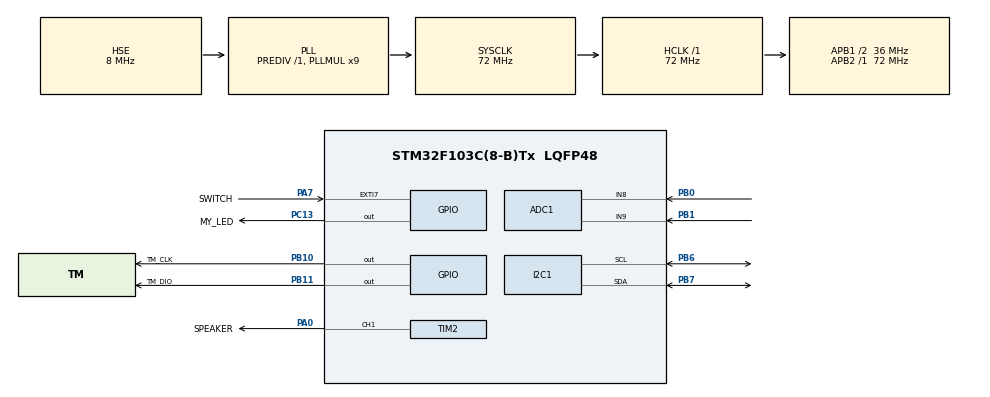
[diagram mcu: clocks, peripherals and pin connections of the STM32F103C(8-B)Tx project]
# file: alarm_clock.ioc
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ADC1.Channel-0\#ChannelRegularConversion=ADC_CHANNEL_9
ADC1.Channel-2\#ChannelRegularConversion=ADC_CHANNEL_8
ADC1.ContinuousConvMode=ENABLE
ADC1.EnableAnalogWatchDog=false
ADC1.NbrOfConversion=2
ADC1.NbrOfConversionFlag=1
ADC1.Rank-0\#ChannelRegularConversion=1
ADC1.Rank-2\#ChannelRegularConversion=2
ADC1.SamplingTime-0\#ChannelRegularConversion=ADC_SAMPLETIME_71CYCLES_5
ADC1.SamplingTime-2\#ChannelRegularConversion=ADC_SAMPLETIME_71CYCLES_5
ADC1.master=1
Dma.ADC1.0.Direction=DMA_PERIPH_TO_MEMORY
Dma.ADC1.0.Instance=DMA1_Channel1
Dma.ADC1.0.MemDataAlignment=DMA_MDATAALIGN_WORD
Dma.ADC1.0.MemInc=DMA_MINC_ENABLE
Dma.ADC1.0.Mode=DMA_CIRCULAR
Dma.ADC1.0.PeriphDataAlignment=DMA_PDATAALIGN_WORD
Dma.ADC1.0.PeriphInc=DMA_PINC_DISABLE
Dma.ADC1.0.Priority=DMA_PRIORITY_MEDIUM
Dma.Request0=ADC1
Mcu.Family=STM32F1
Mcu.Name=STM32F103C(8-B)Tx
Mcu.Package=LQFP48
NVIC.DMA1_Channel1_IRQn=true\:0\:0\:false\:false\:true\:false\:true\:true
NVIC.EXTI9_5_IRQn=true\:0\:0\:false\:false\:true\:true\:true\:true
NVIC.PriorityGroup=NVIC_PRIORITYGROUP_4
PA0-WKUP.GPIO_Label=SPEAKER
PA0-WKUP.Signal=S_TIM2_CH1_ETR
PA13.Mode=Serial_Wire
PA13.Signal=SYS_JTMS-SWDIO
PA14.Mode=Serial_Wire
PA14.Signal=SYS_JTCK-SWCLK
PA7.GPIO_Label=SWITCH
PA7.GPIO_ModeDefaultEXTI=GPIO_MODE_IT_RISING_FALLING
PA7.GPIO_PuPd=GPIO_PULLUP
PA7.Signal=GPXTI7
PB0.Signal=ADCx_IN8
PB1.Signal=ADCx_IN9
PB10.GPIO_Label=TM_CLK
PB10.GPIO_ModeDefaultOutputPP=GPIO_MODE_OUTPUT_PP
PB10.GPIO_PuPd=GPIO_NOPULL
PB10.GPIO_Speed=GPIO_SPEED_FREQ_HIGH
PB10.PinState=GPIO_PIN_RESET
PB10.Signal=GPIO_Output
PB11.GPIO_Label=TM_DIO
PB11.GPIO_ModeDefaultOutputPP=GPIO_MODE_OUTPUT_PP
PB11.GPIO_PuPd=GPIO_NOPULL
PB11.GPIO_Speed=GPIO_SPEED_FREQ_HIGH
PB11.Signal=GPIO_Output
PB6.Mode=I2C
PB6.Signal=I2C1_SCL
PB7.Mode=I2C
PB7.Signal=I2C1_SDA
PC13-TAMPER-RTC.GPIO_Label=MY_LED
PC13-TAMPER-RTC.Signal=GPIO_Output
PD0-OSC_IN.Mode=HSE-External-Oscillator
PD0-OSC_IN.Signal=RCC_OSC_IN
PD1-OSC_OUT.Mode=HSE-External-Oscillator
PD1-OSC_OUT.Signal=RCC_OSC_OUT
ProjectManager.HeapSize=0x200
ProjectManager.StackSize=0x400
ProjectManager.TargetToolchain=STM32CubeIDE
RCC.ADCPresc=RCC_ADCPCLK2_DIV6
RCC.AHBFreq_Value=72000000
RCC.APB1CLKDivider=RCC_HCLK_DIV2
RCC.APB1Freq_Value=36000000
RCC.APB1TimFreq_Value=72000000
RCC.APB2Freq_Value=72000000
RCC.APB2TimFreq_Value=72000000
RCC.HCLKFreq_Value=72000000
RCC.PLLMUL=RCC_PLL_MUL9
RCC.PLLSourceVirtual=RCC_PLLSOURCE_HSE
RCC.SYSCLKFreq_VALUE=72000000
RCC.SYSCLKSource=RCC_SYSCLKSOURCE_PLLCLK
RCC.USBFreq_Value=72000000
SH.ADCx_IN8.0=ADC1_IN8,IN8
SH.ADCx_IN9.0=ADC1_IN9,IN9
SH.S_TIM2_CH1_ETR.0=TIM2_CH1,PWM Generation1 CH1
TIM2.Channel-PWM\ Generation1\ CH1=TIM_CHANNEL_1
TIM2.Period=2499
TIM2.Prescaler=71
VP_TIM2_VS_ClockSourceINT.Mode=Internal
board=custom

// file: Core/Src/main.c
/* USER CODE BEGIN Header */
/**
  ******************************************************************************
  * @file           : main.c
  * @brief          : Main program body
  ******************************************************************************
  * @attention
  *
  * Copyright (c) 2026 STMicroelectronics.
  * All rights reserved.
  *
  * This software is licensed under terms that can be found in the LICENSE file
  * in the root directory of this software component.
  * If no LICENSE file comes with this software, it is provided AS-IS.
  *
  ******************************************************************************
  */
/* USER CODE END Header */
#include "main.h"

/* USER CODE BEGIN Includes */

#include "tm1637.h"
#include "ds1307.h"
#include "speaker.h"
#include "stdbool.h"

/* USER CODE END Includes */

ADC_HandleTypeDef hadc1;
DMA_HandleTypeDef hdma_adc1;

I2C_HandleTypeDef hi2c1;

TIM_HandleTypeDef htim2;

/* USER CODE BEGIN PV */
struct t_ start_t;

// for current time
uint32_t downtime_seconds;
uint32_t downtime_seconds_prev = 0;
uint32_t today_time_in_sec = 0;
uint8_t time_display_data[4];

// joystick
enum Joy_Commands {
	JOY_U,
	JOY_R,
	JOY_D,
	JOY_L,
	JOY_IDLE
};
bool joystick_at_idle = true;
uint32_t value_adc[2];

// For switch cases
volatile bool switch_pressed = false;
bool prev_switch_status = false;
bool long_switch_pressed = false;
uint32_t HIGH_TICK = 0, LOW_TICK = 0;
uint8_t double_quick_switch_counter = 0, single_quick_switch_counter = 0;
uint32_t single_switch_timer = 0;
bool enable_single_switch_timer = false;

int8_t current_function = 0;
int8_t current_layer = 0;
int8_t prev_layer = 0; // just for displaying alarm function(that is 0th function) when entered into layer1 from 0th layer

// layer: 1
int prev_joy_command = JOY_IDLE;

// layer: 2 --> TIMER
int8_t current_timer_option = 0;
bool stop_beep_beep_FLAG = false;

// layer: 2 --> STOP WATCH
uint8_t stop_w_data[4] = {0, 0, 0, 0};
uint32_t current_sw_tick = 0;
uint32_t prev_sw_tick = 0;
uint8_t stop_watch_layer = 0;
bool stop_watch_zero_display_FLAG = true;
uint32_t sw_counter = 0;

// For auto display off
bool auto_display_off_FLAG = false;
uint32_t auto_display_off_timer = 0;
bool auto_display_off_ENABLE = true;  // in layer 1 and layer 2 we don't want screen to go off. This is where this should be false to stop auto display off feature

bool start_timer_FLAG = false;

// timer sound parameters
bool start_beep_beep_FLAG = false;  // becomes high whenever alarm or timer finishes
uint8_t time_gap_counter = 0; // if self%3 = 0 then 100ms, = 1 then 100ms, =2 then 1 second
uint16_t timer_sound_interval = 0;
uint32_t timer_sound_prev_time = 0;
bool flip_on_off_sound_FLAG = true;

// for small beep
bool small_beep_FLAG = false;

uint16_t timer_seconds = 0;
uint32_t timer_PREV_time = 0, timer_FUTURE_time = 0;
uint8_t display_timer_data[4];
// ##################################################################################
/* USER CODE END PV */

void SystemClock_Config(void);
static void MX_GPIO_Init(void);
static void MX_DMA_Init(void);
static void MX_I2C1_Init(void);
static void MX_ADC1_Init(void);
static void MX_TIM2_Init(void);
/* USER CODE BEGIN PFP */

void display_current_time();
int get_joystick_commands(void);
void display_stages(void);
void start_timer(uint8_t otpion);
void timer_beep_beep(void);
void detect_switch_cases_v2(void);
void update_layer(void);
void show_function_selector(void);
void timer_selector(void);
void handle_stop_watch(void);
/* USER CODE END PFP */

int main(void)
{

  /* USER CODE BEGIN 1 */
//	HAL_StatusTypeDef ret;

  /* USER CODE END 1 */

  /* MCU Configuration--------------------------------------------------------*/

  /* Reset of all peripherals, Initializes the Flash interface and the Systick. */
  HAL_Init();

  /* Configure the system clock */
  SystemClock_Config();

  /* Initialize all configured peripherals */
  MX_GPIO_Init();
  MX_DMA_Init();
  MX_I2C1_Init();
  MX_ADC1_Init();
  MX_TIM2_Init();
  /* USER CODE BEGIN 2 */
  uint8_t data[4] = {0b01110111, 0b01111100, 0b00111001, 0b01011110};  // 1, 2, 3, 4
  TM1637_WriteData(0xC0, data, 4);

//  set_rtc_to_current(&hi2c1, 0, 34, 21, 2, 27, 10, 26);
//  HAL_Delay(1000);
  // to enable rtc module
//  uint8_t buff[1] = {0};
//   HAL_I2C_Mem_Write(&hi2c1, TIMER_ADDR, REG_TIME, I2C_MEMADD_SIZE_8BIT, buff, 1, 100);

  start_t = get_current_time(&hi2c1);
  uint8_t start_minute = start_t.minute;
  uint8_t start_hour = start_t.hour;
  uint8_t start_seconds = start_t.second;
  uint32_t start_time_in_sec = start_hour * 3600 + start_minute * 60 + start_seconds;

  HAL_ADCEx_Calibration_Start(&hadc1);
  HAL_ADC_Start_DMA(&hadc1, (uint32_t*)value_adc, 2);

  /* USER CODE END 2 */

  /* Infinite loop */
  /* USER CODE BEGIN WHILE */
  while (1)
  {
	  // ################################################################################################
	  // calculating today's current time in seconds
	  downtime_seconds = HAL_GetTick()/1000;
	  today_time_in_sec = start_time_in_sec + downtime_seconds;
	  // ################################################################################################

	  detect_switch_cases_v2();

	  update_layer();

	  if (downtime_seconds - auto_display_off_timer >= 10 && (!auto_display_off_FLAG && auto_display_off_ENABLE)){
		  auto_display_off_FLAG = true;
		  uint8_t nothing_digits[4] = {0, 0, 0, 0};
		  TM1637_WriteData(0xc0, nothing_digits, 4);
	  }

	  if (current_layer == 0) {
		  if (!auto_display_off_ENABLE) auto_display_off_ENABLE = true;
		  display_current_time();
	  }

	  else if (current_layer == 1) {
		  if (auto_display_off_ENABLE) auto_display_off_ENABLE = false;
		  show_function_selector();
	  }

	  else if (current_layer == 2) {
		  // timer
		  if (current_function == 1){
			  timer_selector();
		  }
	  }

	  else if (current_layer == 10){
		  start_timer(current_timer_option);
		  if (start_beep_beep_FLAG) timer_beep_beep();
	  }

	  else if (current_layer == 15){
		  handle_stop_watch();
	  }

	  // clear all switch cases
	  single_quick_switch_counter = 0;
	  double_quick_switch_counter = 0;
	  long_switch_pressed = 0;
	  prev_layer = current_layer;

    /* USER CODE END WHILE */

  }
}

void SystemClock_Config(void)
{
  RCC_OscInitTypeDef RCC_OscInitStruct = {0};
  RCC_ClkInitTypeDef RCC_ClkInitStruct = {0};
  RCC_PeriphCLKInitTypeDef PeriphClkInit = {0};

  /** Initializes the RCC Oscillators according to the specified parameters
  * in the RCC_OscInitTypeDef structure.
  */
  RCC_OscInitStruct.OscillatorType = RCC_OSCILLATORTYPE_HSE;
  RCC_OscInitStruct.HSEState = RCC_HSE_ON;
  RCC_OscInitStruct.HSEPredivValue = RCC_HSE_PREDIV_DIV1;
  RCC_OscInitStruct.HSIState = RCC_HSI_ON;
  RCC_OscInitStruct.PLL.PLLState = RCC_PLL_ON;
  RCC_OscInitStruct.PLL.PLLSource = RCC_PLLSOURCE_HSE;
  RCC_OscInitStruct.PLL.PLLMUL = RCC_PLL_MUL9;
  if (HAL_RCC_OscConfig(&RCC_OscInitStruct) != HAL_OK)
  {
    Error_Handler();
  }

  /** Initializes the CPU, AHB and APB buses clocks
  */
  RCC_ClkInitStruct.ClockType = RCC_CLOCKTYPE_HCLK|RCC_CLOCKTYPE_SYSCLK
                              |RCC_CLOCKTYPE_PCLK1|RCC_CLOCKTYPE_PCLK2;
  RCC_ClkInitStruct.SYSCLKSource = RCC_SYSCLKSOURCE_PLLCLK;
  RCC_ClkInitStruct.AHBCLKDivider = RCC_SYSCLK_DIV1;
  RCC_ClkInitStruct.APB1CLKDivider = RCC_HCLK_DIV2;
  RCC_ClkInitStruct.APB2CLKDivider = RCC_HCLK_DIV1;

  if (HAL_RCC_ClockConfig(&RCC_ClkInitStruct, FLASH_LATENCY_2) != HAL_OK)
  {
    Error_Handler();
  }
  PeriphClkInit.PeriphClockSelection = RCC_PERIPHCLK_ADC;
  PeriphClkInit.AdcClockSelection = RCC_ADCPCLK2_DIV6;
  if (HAL_RCCEx_PeriphCLKConfig(&PeriphClkInit) != HAL_OK)
  {
    Error_Handler();
  }
}

static void MX_ADC1_Init(void)
{

  ADC_ChannelConfTypeDef sConfig = {0};

  /** Common config
  */
  hadc1.Instance = ADC1;
  hadc1.Init.ScanConvMode = ADC_SCAN_ENABLE;
  hadc1.Init.ContinuousConvMode = ENABLE;
  hadc1.Init.DiscontinuousConvMode = DISABLE;
  hadc1.Init.ExternalTrigConv = ADC_SOFTWARE_START;
  hadc1.Init.DataAlign = ADC_DATAALIGN_RIGHT;
  hadc1.Init.NbrOfConversion = 2;
  if (HAL_ADC_Init(&hadc1) != HAL_OK)
  {
    Error_Handler();
  }

  /** Configure Regular Channel
  */
  sConfig.Channel = ADC_CHANNEL_9;
  sConfig.Rank = ADC_REGULAR_RANK_1;
  sConfig.SamplingTime = ADC_SAMPLETIME_71CYCLES_5;
  if (HAL_ADC_ConfigChannel(&hadc1, &sConfig) != HAL_OK)
  {
    Error_Handler();
  }

  /** Configure Regular Channel
  */
  sConfig.Channel = ADC_CHANNEL_8;
  sConfig.Rank = ADC_REGULAR_RANK_2;
  if (HAL_ADC_ConfigChannel(&hadc1, &sConfig) != HAL_OK)
  {
    Error_Handler();
  }

}

static void MX_I2C1_Init(void)
{

  hi2c1.Instance = I2C1;
  hi2c1.Init.ClockSpeed = 100000;
  hi2c1.Init.DutyCycle = I2C_DUTYCYCLE_2;
  hi2c1.Init.OwnAddress1 = 0;
  hi2c1.Init.AddressingMode = I2C_ADDRESSINGMODE_7BIT;
  hi2c1.Init.DualAddressMode = I2C_DUALADDRESS_DISABLE;
  hi2c1.Init.OwnAddress2 = 0;
  hi2c1.Init.GeneralCallMode = I2C_GENERALCALL_DISABLE;
  hi2c1.Init.NoStretchMode = I2C_NOSTRETCH_DISABLE;
  if (HAL_I2C_Init(&hi2c1) != HAL_OK)
  {
    Error_Handler();
  }

}

static void MX_TIM2_Init(void)
{

  TIM_ClockConfigTypeDef sClockSourceConfig = {0};
  TIM_MasterConfigTypeDef sMasterConfig = {0};
  TIM_OC_InitTypeDef sConfigOC = {0};

  htim2.Instance = TIM2;
  htim2.Init.Prescaler = 71;
  htim2.Init.CounterMode = TIM_COUNTERMODE_UP;
  htim2.Init.Period = 2499;
  htim2.Init.ClockDivision = TIM_CLOCKDIVISION_DIV1;
  htim2.Init.AutoReloadPreload = TIM_AUTORELOAD_PRELOAD_DISABLE;
  if (HAL_TIM_Base_Init(&htim2) != HAL_OK)
  {
    Error_Handler();
  }
  sClockSourceConfig.ClockSource = TIM_CLOCKSOURCE_INTERNAL;
  if (HAL_TIM_ConfigClockSource(&htim2, &sClockSourceConfig) != HAL_OK)
  {
    Error_Handler();
  }
  if (HAL_TIM_PWM_Init(&htim2) != HAL_OK)
  {
    Error_Handler();
  }
  sMasterConfig.MasterOutputTrigger = TIM_TRGO_RESET;
  sMasterConfig.MasterSlaveMode = TIM_MASTERSLAVEMODE_DISABLE;
  if (HAL_TIMEx_MasterConfigSynchronization(&htim2, &sMasterConfig) != HAL_OK)
  {
    Error_Handler();
  }
  sConfigOC.OCMode = TIM_OCMODE_PWM1;
  sConfigOC.Pulse = 0;
  sConfigOC.OCPolarity = TIM_OCPOLARITY_HIGH;
  sConfigOC.OCFastMode = TIM_OCFAST_DISABLE;
  if (HAL_TIM_PWM_ConfigChannel(&htim2, &sConfigOC, TIM_CHANNEL_1) != HAL_OK)
  {
    Error_Handler();
  }
  HAL_TIM_MspPostInit(&htim2);

}

static void MX_DMA_Init(void)
{

  /* DMA controller clock enable */
  __HAL_RCC_DMA1_CLK_ENABLE();

  /* DMA interrupt init */
  /* DMA1_Channel1_IRQn interrupt configuration */
  HAL_NVIC_SetPriority(DMA1_Channel1_IRQn, 0, 0);
  HAL_NVIC_EnableIRQ(DMA1_Channel1_IRQn);

}

static void MX_GPIO_Init(void)
{
  GPIO_InitTypeDef GPIO_InitStruct = {0};

  /* GPIO Ports Clock Enable */
  __HAL_RCC_GPIOC_CLK_ENABLE();
  __HAL_RCC_GPIOD_CLK_ENABLE();
  __HAL_RCC_GPIOA_CLK_ENABLE();
  __HAL_RCC_GPIOB_CLK_ENABLE();

  /*Configure GPIO pin Output Level */
  HAL_GPIO_WritePin(MY_LED_GPIO_Port, MY_LED_Pin, GPIO_PIN_RESET);

  /*Configure GPIO pin Output Level */
  HAL_GPIO_WritePin(GPIOB, TM_CLK_Pin|TM_DIO_Pin, GPIO_PIN_RESET);

  /*Configure GPIO pin : MY_LED_Pin */
  GPIO_InitStruct.Pin = MY_LED_Pin;
  GPIO_InitStruct.Mode = GPIO_MODE_OUTPUT_PP;
  GPIO_InitStruct.Pull = GPIO_NOPULL;
  GPIO_InitStruct.Speed = GPIO_SPEED_FREQ_LOW;
  HAL_GPIO_Init(MY_LED_GPIO_Port, &GPIO_InitStruct);

  /*Configure GPIO pin : SWITCH_Pin */
  GPIO_InitStruct.Pin = SWITCH_Pin;
  GPIO_InitStruct.Mode = GPIO_MODE_IT_RISING_FALLING;
  GPIO_InitStruct.Pull = GPIO_PULLUP;
  HAL_GPIO_Init(SWITCH_GPIO_Port, &GPIO_InitStruct);

  /*Configure GPIO pins : TM_CLK_Pin TM_DIO_Pin */
  GPIO_InitStruct.Pin = TM_CLK_Pin|TM_DIO_Pin;
  GPIO_InitStruct.Mode = GPIO_MODE_OUTPUT_PP;
  GPIO_InitStruct.Pull = GPIO_NOPULL;
  GPIO_InitStruct.Speed = GPIO_SPEED_FREQ_HIGH;
  HAL_GPIO_Init(GPIOB, &GPIO_InitStruct);

  /* EXTI interrupt init*/
  HAL_NVIC_SetPriority(EXTI9_5_IRQn, 0, 0);
  HAL_NVIC_EnableIRQ(EXTI9_5_IRQn);

}

/* USER CODE BEGIN 4 */

void HAL_GPIO_EXTI_Callback(uint16_t GPIO_Pin){
	if(GPIO_Pin == SWITCH_Pin){
		switch_pressed = !HAL_GPIO_ReadPin(SWITCH_GPIO_Port, SWITCH_Pin);
	}
}

void detect_switch_cases_v2(void) {
    uint32_t current_tick = HAL_GetTick();

    // Read the volatile variable into a local variable once per loop
    // to prevent it from changing halfway through this function.
    bool current_switch = switch_pressed;

    // set timer for auto display off
    if (current_switch) {
    	auto_display_off_timer = HAL_GetTick()/1000;
    	auto_display_off_FLAG = false;
    }

//    // handle long_switch beep sound
//    if((current_tick - HIGH_TICK >= 1500) && (HIGH_TICK - LOW_TICK > 50) && !small_beep_FLAG){
//    	small_beep_FLAG = true;
//    	speaker_play(&htim2, 350);
//    }

    // 1. FALLING/RISING EDGE DETECTION WITH 50ms DEBOUNCE
    if (current_switch && !prev_switch_status && (current_tick - LOW_TICK > 50)) {
        HIGH_TICK = current_tick; // Switch pressed
    }
    else if (!current_switch && prev_switch_status && (current_tick - HIGH_TICK > 50)) {
        LOW_TICK = current_tick;  // Switch released

        uint32_t press_duration = LOW_TICK - HIGH_TICK;

        // 2. CHECK IF SHORT PRESS OR LONG PRESS
        if (press_duration < 1500) {

            // If we were already waiting for a second click, this is a DOUBLE CLICK
            if (enable_single_switch_timer) {
                double_quick_switch_counter += 1;
                enable_single_switch_timer = false; // Cancel the single click timer
            }
            // Otherwise, this is the first click. Start the timer to wait for a potential second click.
            else {
                single_switch_timer = LOW_TICK;
                enable_single_switch_timer = true;
            }
        }
        else {
            // It was a long press, and it has just been released
//            LONG_SWITCH_BEEPED = false;  // Reset for next time
            long_switch_pressed = true;
            small_beep_FLAG = false;
            // Optional safety: if user released between 1500ms and 1800ms, stop the beep early
            if (small_beep_FLAG) {
            	small_beep_FLAG = false;
                speaker_stop(&htim2);
            }
        }
    }

    // 3. HANDLE SINGLE CLICK TIMEOUT
    // If 300ms have passed since a short press and no second press happened, it's a SINGLE CLICK
    if (enable_single_switch_timer && (current_tick - single_switch_timer > 300)) {
        single_quick_switch_counter += 1;
        enable_single_switch_timer = false;
    }

    // 4. HANDLE LONG PRESS 300ms BEEP
    // Step A: Start beep at 1500ms while button is actively held down
    if (current_switch && (current_tick - HIGH_TICK >= 1500) && !small_beep_FLAG) {
        small_beep_FLAG = true;    // Tracks that the buzzer is currently active
        speaker_play(&htim2, 600);
    }

    // Step B: Stop beep 300ms later (at 1800ms) even if user is still holding the button
    if (small_beep_FLAG && (current_tick - HIGH_TICK >= 1650)) {
        small_beep_FLAG = false;
        speaker_stop(&htim2);
    }

    	// Update previous state for the next loop iteration
    prev_switch_status = current_switch;
}

void update_layer(void){
//	current_layer - a global_var
	// from 0th layer to 1st layer
	if (current_layer == 0 && long_switch_pressed){
		current_function = 0; // that is alarm function
		// here I would need long switch press for forward pass
		current_layer = 1;  // entering to layer where functions can be selected
	}
	else if (current_layer == 1 && single_quick_switch_counter){
		single_quick_switch_counter = 0;
		current_layer = 2;  // Entering to particular function
		if (current_function == 2){
			current_layer = 15;
			auto_display_off_ENABLE = false;
		}
	}
	else if (double_quick_switch_counter && (current_layer <= 2)){
		current_layer -= 1;
	}
	// timer option selected
	else if (current_layer == 2 && single_quick_switch_counter){
		single_quick_switch_counter = 0;
		if (current_function == 1){
			current_layer = 10; // specific for timer
			auto_display_off_ENABLE = true;
		}
//		else if (current_function == 2){
//			current_layer = 15;  // specific for stop watch
//			auto_display_off_ENABLE = false;
//		}
	}
	// timer is finished, stop beeep-beep
	else if (current_layer == 10 && single_quick_switch_counter && start_beep_beep_FLAG){
		current_layer = 0;
		stop_beep_beep_FLAG = true;
		auto_display_off_ENABLE = true;
	}
	// cancel the timer with long_switch press
	else if (current_layer == 10 && long_switch_pressed && !start_beep_beep_FLAG){
		current_layer = 0;
		auto_display_off_ENABLE = true;
	}
	// cancel the stop watch
	else if(current_layer == 15 && double_quick_switch_counter){
		if (stop_watch_layer == 0){
			current_layer = 0;
			auto_display_off_ENABLE = true;
		}
	}

	if (current_layer < 0) current_layer = 0;
}

void handle_stop_watch(void){
	current_sw_tick = HAL_GetTick();
	if (stop_watch_layer == 0 && stop_watch_zero_display_FLAG){
		// reset the buffer with zero
		for (uint8_t i = 0; i < 4; i++){
			stop_w_data[i] = 0;
		}
		display_all_digits(stop_w_data);
		stop_watch_zero_display_FLAG = false;  // so that only one time 00:00 sets
	}

	// start counting
	if (stop_watch_layer == 0 && single_quick_switch_counter){
		single_quick_switch_counter = 0;
		prev_sw_tick = current_sw_tick;
		stop_watch_layer = 1;
		sw_counter = 0;
	}

	// counting
	else if(stop_watch_layer == 1){

		if (single_quick_switch_counter){
			single_quick_switch_counter = 0;
			stop_watch_layer = 2;
			return;
		}

		if (current_sw_tick - prev_sw_tick >= 1000){
			// display the count
			sw_counter += 1;
			uint8_t sw_minutes = (uint8_t)(sw_counter / 60);
			uint8_t sw_seconds = (uint8_t)(sw_counter - sw_minutes*60);
			stop_w_data[0] = sw_minutes / 10;
			stop_w_data[1] = sw_minutes % 10;
			stop_w_data[2] = sw_seconds / 10;
			stop_w_data[3] = sw_seconds % 10;
			display_all_digits(stop_w_data);
			prev_sw_tick = current_sw_tick;
		}
	}

	// continue
	else if(stop_watch_layer == 2 && single_quick_switch_counter){
		single_quick_switch_counter = 0;
		stop_watch_layer = 1;
		return;
	}

	// reset
	else if(stop_watch_layer == 2 && long_switch_pressed){
		long_switch_pressed = 0;
		stop_watch_layer = 0;
		stop_watch_zero_display_FLAG = true;
	}
}

void show_function_selector(void){
	// display functions according to current_function
	// display 0th function when entered into layer1
	if (current_layer != prev_layer){
		char display_data[4] = {'A', 'L', 0, 0};
		display_all_chars(display_data);
		current_function = 0;
	}
	// update screen only when joystick command change from previous global stored command
	int joy_command = get_joystick_commands();
	if (joy_command != prev_joy_command && (joy_command != JOY_IDLE)){
		char display_data[4] = {0, 0, 0, 0};
		if (joy_command == JOY_U && (current_function < 3)) current_function += 1;
		else if (joy_command == JOY_D && (current_function > 0)) current_function -= 1;

		switch (current_function){
				case 0:
					display_data[0] = 'A';
					display_data[1] = 'L';
					break;
				case 1:
					display_data[0] = 't';
					display_data[1] = 'i';
					break;
				case 2:
					display_data[0] = 'S';
					display_data[1] = 't';
					display_data[2] = 'C';
					display_data[3] = 'L';
					break;
				case 3:
					display_data[0] = 'C';
					display_data[1] = 'L';
					break;
				}

				display_all_chars(display_data);
	}
	prev_joy_command = joy_command;
}

void timer_selector(void){
	if (current_layer != prev_layer){
		uint8_t display_data[4] = {0, 0, 1, 0};
		display_all_digits(display_data);
		current_timer_option = 0;
	}
	// update screen only when joystick command change from previous global stored command
	int joy_command = get_joystick_commands();
	if (joy_command != prev_joy_command && (joy_command != JOY_IDLE)){
		uint8_t display_data[4] = {0, 0, 0, 0};
		if (joy_command == JOY_U && (current_timer_option < 3)) current_timer_option += 1;
		else if (joy_command == JOY_D && (current_timer_option > 0)) current_timer_option -= 1;

		switch (current_timer_option){
				case 0:                         // 10 minutes
					display_data[2] = 1;
					display_data[3] = 0;
					break;
				case 1:                        // 25 minutes
					display_data[2] = 2;
					display_data[3] = 5;
					break;
				case 2:                        // 45 minutes
					display_data[2] = 4;
					display_data[3] = 5;
					break;
				case 3:                        // 60 minutes
					display_data[0] = 0;
					display_data[1] = 1;
					break;
				}

				display_all_digits(display_data);
	}
	prev_joy_command = joy_command;

}

void display_current_time(){
	uint8_t current_hour = (uint8_t)(today_time_in_sec / 3600);
	uint8_t current_minute = (uint8_t)((today_time_in_sec - current_hour*3600)/60);
	uint8_t current_seconds = (uint8_t)(today_time_in_sec - current_hour*3600 - current_minute*60);

	time_display_data[0] = (current_hour / 10);
	time_display_data[1] = current_hour % 10;
	time_display_data[2] = (current_seconds / 10);
	time_display_data[3] = current_seconds % 10;

	if (downtime_seconds - downtime_seconds_prev >= 1){
		if (!auto_display_off_FLAG){
			display_all_digits(time_display_data);
		}
		downtime_seconds_prev = downtime_seconds;
	}
}

int get_joystick_commands(void){
	if (((value_adc[0] > 1000) && (value_adc[0] < 3000)) && ((value_adc[1] > 1000) && (value_adc[1] < 3000))){
		joystick_at_idle = true;
	}

	if (joystick_at_idle){
		// U
		if (value_adc[0] > 3500) {
			joystick_at_idle = false;
			return JOY_D;
		}
		// D
		if (value_adc[0] < 500){
			joystick_at_idle = false;
			return JOY_U;
		}

		// R
		if (value_adc[1] > 3500) {
			joystick_at_idle = false;
			return JOY_R;
		}
		// L
		if (value_adc[1] < 500){
			joystick_at_idle = false;
			return JOY_L;
		}

	}
	return 1000;  // just a random value other than [0:3]
}

void start_timer(uint8_t option){
	if (!start_beep_beep_FLAG){
	if (!start_timer_FLAG){
		switch (option){
		case 0:
			timer_seconds = 10*60;  // 10 minutes
			break;
		case 1:
			timer_seconds = 60*25; // 25 minutes
			break;
		case 2:
			timer_seconds = 60*45; // 45 minutes
			break;
		case 3:
			timer_seconds = 60*60; // 60 minutes
			break;
		}
		start_timer_FLAG = true;
		timer_FUTURE_time = today_time_in_sec + timer_seconds;

		// FIX 2: Initialize PREV_time so the first second doesn't tick prematurely
		timer_PREV_time = today_time_in_sec;
	}
	// start counting timer until 00:00
	else{
//		timer_CURRENT_time = HAL_GetTick()/1000;
		if (today_time_in_sec < timer_FUTURE_time){
			// show the time
			if (today_time_in_sec - timer_PREV_time >= 1){
				// calculate the time and show it
				timer_seconds -= 1;
				uint8_t current_minute = (uint8_t)(timer_seconds / 60);
				uint8_t current_seconds = (uint8_t)(timer_seconds - current_minute*60);
				display_timer_data[0] = (current_minute / 10);
				display_timer_data[1] = current_minute % 10;
				display_timer_data[2] = (current_seconds / 10);
				display_timer_data[3] = current_seconds % 10;

				if (!auto_display_off_FLAG){
					display_all_digits(display_timer_data);
				}

				timer_PREV_time = today_time_in_sec;
			}
		}
		// timer over. Make a beep-beep(timer_sound).
		else{
			start_beep_beep_FLAG = true;  // play timer_beep_beep()
			timer_sound_prev_time = HAL_GetTick();
			start_timer_FLAG = false;
		}
	}
	}
}

void timer_beep_beep(void){
	// check for user interrupt to stop sound
	if (stop_beep_beep_FLAG){
		stop_beep_beep_FLAG = false;
		start_beep_beep_FLAG = false;
		speaker_stop(&htim2);
		return;
	}

	// play beep-beep of high for 200ms and low for 200 ms then 1 second pause asynchronously.
	switch (time_gap_counter % 4){
	case 0: // on
		timer_sound_interval = 100;
		break;
	case 1: // off
		timer_sound_interval = 100;
		break;
	case 2: // on
		timer_sound_interval = 100;
		break;
	case 3: // off
		timer_sound_interval = 1000;
	}

	if (HAL_GetTick() - timer_sound_prev_time > timer_sound_interval){
		timer_sound_prev_time = HAL_GetTick();
		flip_on_off_sound_FLAG = true;
		time_gap_counter += 1;
	}

	if (flip_on_off_sound_FLAG){
		flip_on_off_sound_FLAG = false;
		if (time_gap_counter % 2 == 0){
			speaker_play(&htim2, 350);
			char mychar[4] = {'i', 'i', 'i', 'i'};
			display_all_chars(mychar);
		}
		else {
			speaker_stop(&htim2);
			char mychar[4] = {0, 0, 0, 0};
			display_all_chars(mychar);
		}

	}

}

//void display_stages(void){
//	if (current_stage != prev_stage){
//		char display_data[4] = {0, 0, 0, 0};
//		switch (current_stage){
//		case 0:
//			display_data[0] = 'C';
//			display_data[1] = 'L';
//			break;
//		case 1:
//			display_data[0] = 't';
//			display_data[1] = 'i';
//			break;
//		case 2:
//			display_data[0] = 'S';
//			display_data[1] = 't';
//			display_data[2] = 'C';
//			display_data[3] = 'L';
//			break;
//		case 3:
//			display_data[0] = 'A';
//			display_data[1] = 'L';
//			break;
//		}
//
//		display_all_chars(display_data);
//	}
//}

/* USER CODE END 4 */

void Error_Handler(void)
{
  __disable_irq();
  while (1)
  {
  }
}
